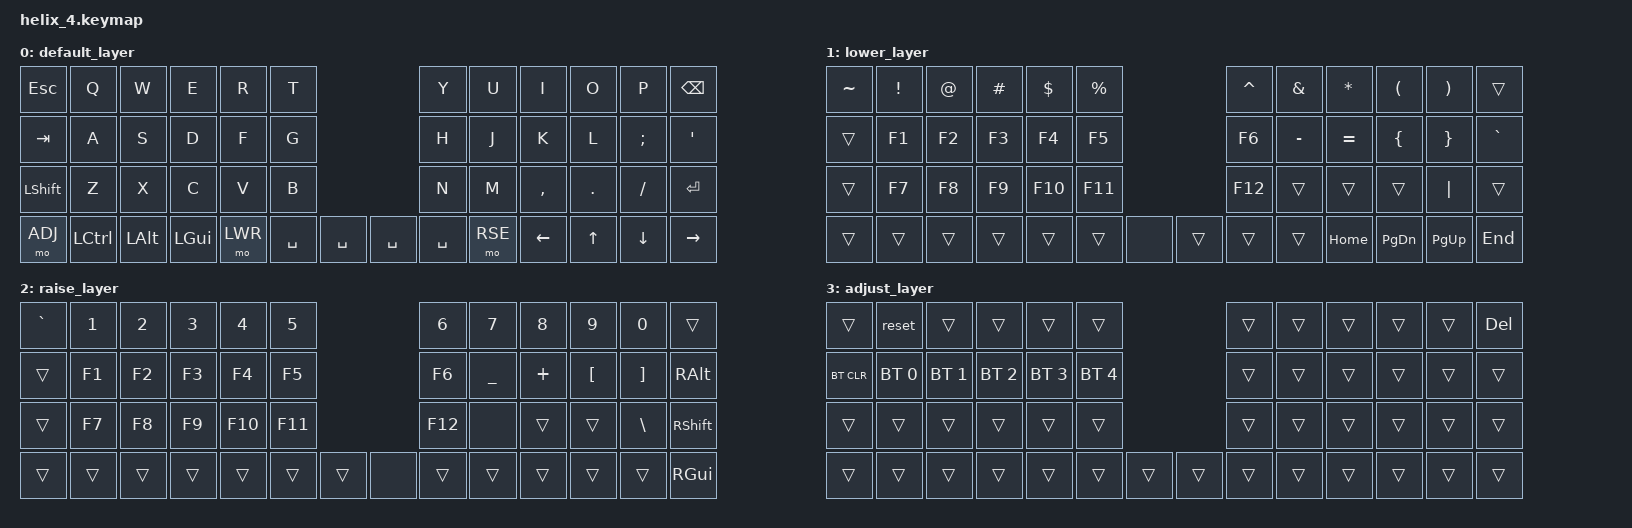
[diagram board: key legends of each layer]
/*
 * Copyright (c) 2021 The ZMK Contributors
 *
 * SPDX-License-Identifier: MIT
 */

#include <behaviors.dtsi>
#include <dt-bindings/zmk/keys.h>
#include <dt-bindings/zmk/bt.h>

#define DEFAULT 0
#define LWR     1
#define RSE     2
#define ADJ     3

/ {
  keymap {
    compatible = "zmk,keymap";

    default_layer {
      bindings = <
&kp ESC   &kp Q     &kp W    &kp E    &kp R    &kp T                         &kp Y     &kp U    &kp I     &kp O    &kp P    &kp BSPC
&kp TAB   &kp A     &kp S    &kp D    &kp F    &kp G                         &kp H     &kp J    &kp K     &kp L    &kp SEMI &kp SQT
&kp LSHFT &kp Z     &kp X    &kp C    &kp V    &kp B                         &kp N     &kp M    &kp COMMA &kp DOT  &kp FSLH &kp RET
&mo ADJ   &kp LCTRL &kp LALT &kp LGUI &mo LWR  &kp SPACE &kp SPACE &kp SPACE &kp SPACE &mo RSE  &kp LEFT  &kp UP   &kp DOWN &kp RIGHT
      >;
    };

    lower_layer {
      bindings = <
&kp TILDE &kp EXCL  &kp AT    &kp HASH  &kp DLLR &kp PRCNT                     &kp CARET &kp AMPS  &kp STAR  &kp LPAR  &kp RPAR  &trans
&trans    &kp F1    &kp F2    &kp F3    &kp F4   &kp F5                        &kp F6    &kp MINUS &kp EQUAL &kp LBRC  &kp RBRC  &kp GRAVE
&trans    &kp F7    &kp F8    &kp F9    &kp F10  &kp F11                       &kp F12   &trans    &trans    &trans    &kp PIPE  &trans
&trans    &trans    &trans    &trans    &trans   &trans    &none     &trans    &trans    &trans    &kp HOME  &kp PG_DN &kp PG_UP &kp END
      >;
    };

    raise_layer {
      bindings = <
&kp GRAVE &kp N1    &kp N2    &kp N3    &kp N4    &kp N5                        &kp N6    &kp N7    &kp N8   &kp N9    &kp N0     &trans
&trans    &kp F1    &kp F2    &kp F3    &kp F4    &kp F5                        &kp F6    &kp UNDER &kp PLUS &kp LBKT  &kp RBKT   &kp RALT
&trans    &kp F7    &kp F8    &kp F9    &kp F10   &kp F11                       &kp F12   &none     &trans   &trans    &kp BSLH   &kp RSHFT
&trans    &trans    &trans    &trans    &trans    &trans    &trans    &none     &trans    &trans    &trans   &trans    &trans     &kp RGUI    
      >;
    };

    adjust_layer {
      bindings = <
&trans     &reset       &trans       &trans       &trans       &trans                        &trans    &trans    &trans     &trans    &trans    &kp DEL
&bt BT_CLR &bt BT_SEL 0 &bt BT_SEL 1 &bt BT_SEL 2 &bt BT_SEL 3 &bt BT_SEL 4                  &trans    &trans    &trans     &trans    &trans    &trans
&trans     &trans       &trans       &trans       &trans       &trans                        &trans    &trans    &trans     &trans    &trans    &trans
&trans     &trans       &trans       &trans       &trans       &trans    &trans    &trans    &trans    &trans    &trans     &trans    &trans    &trans
      >;
    };
  };
};
